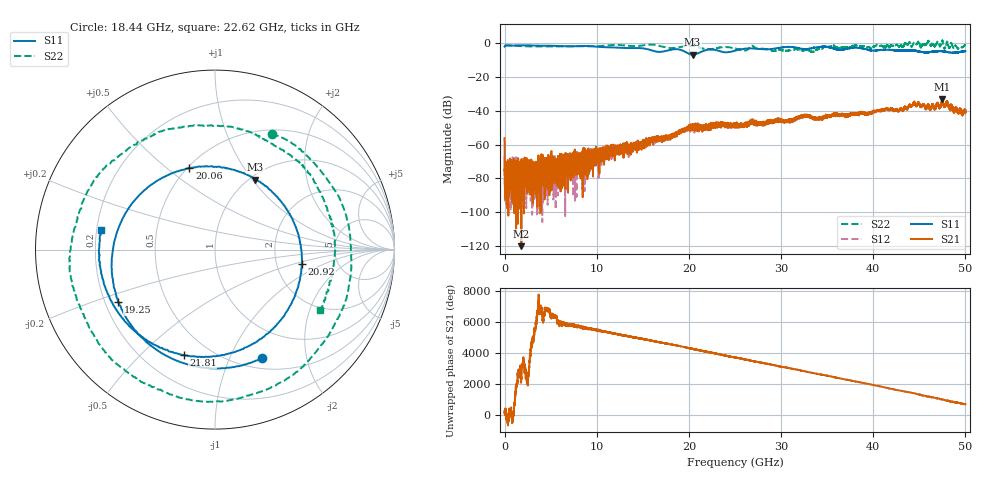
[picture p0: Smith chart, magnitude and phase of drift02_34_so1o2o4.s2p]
!Created with skrf (http://scikit-rf.org).
# Hz S RI R 50.0
!freq ReS11 ImS11 ReS21 ImS21 ReS12 ImS12 ReS22 ImS22
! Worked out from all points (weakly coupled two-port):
!   10001 points, 300 kHz to 50 GHz, reference 50 ohm
!   highest |S21| = -33.02 dB at 47.5 GHz (marker M1); lowest = -120.0 dB at 1.82 GHz (marker M2)
!   lowest |S11| = -6.9 dB at 20.4 GHz (marker M3), VSWR 2.63, Z = 53.1 + j51.8 ohm
!   |S11| at or under -10 dB: nowhere
!   |S22| runs from -5.3 to 1.6 dB; largest |S21 - S12| = 0.0034
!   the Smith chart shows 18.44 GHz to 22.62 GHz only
!   S11 on the Smith chart (normalised r, x): 18.44 GHz: 0.62, -1.32; 19.25 GHz: 0.25, -0.24; 20.06 GHz: 0.51, +0.60; 20.92 GHz: 2.79, -0.57; 21.81 GHz: 0.36, -0.68; 22.62 GHz: 0.22, +0.08
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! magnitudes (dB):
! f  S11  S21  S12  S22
! 300 kHz  -2.1  -56.2  -66.8  -1.3
! 275.3 MHz  -1.4  -81.9  -82.2  -1.4
! 1.82 GHz  -1.4  -120.0  -84.1  -1.8
! 3.285 GHz  -1.5  -79.8  -88.6  -1.9
! 8.335 GHz  -1.7  -66.2  -73.9  -1.9
! 16.67 GHz  -5.2  -56.2  -56.1  -1.5
! 18.44 GHz  -3.6  -54.9  -54.8  -2.9
! 19.25 GHz  -4.3  -51.2  -52.4  -2.1
! 20.06 GHz  -6.4  -49.7  -51.0  -1.6
! 20.4 GHz  -6.9  -48.7  -49.3  -1.7
! 20.92 GHz  -6.2  -50.0  -49.8  -2.2
! 21.81 GHz  -4.2  -49.4  -49.4  -3.5
! 22.62 GHz  -3.8  -49.9  -48.6  -3.4
! 25 GHz  -4.5  -49.1  -48.7  -3.2
! 26.11 GHz  -3.3  -48.6  -48.4  -4.3
! 26.9 GHz  -3.2  -46.5  -46.2  -1.7
! 33.34 GHz  -3.0  -43.5  -43.8  -5.3
! 34.89 GHz  -2.2  -42.8  -43.1  -2.2
! 41.67 GHz  -4.0  -39.2  -39.4  -1.9
! 44.39 GHz  -4.5  -35.3  -35.1  0.1
! 47.5 GHz  -4.9  -33.0  -34.1  1.3
! 50 GHz  -4.8  -39.5  -40.2  -1.4
